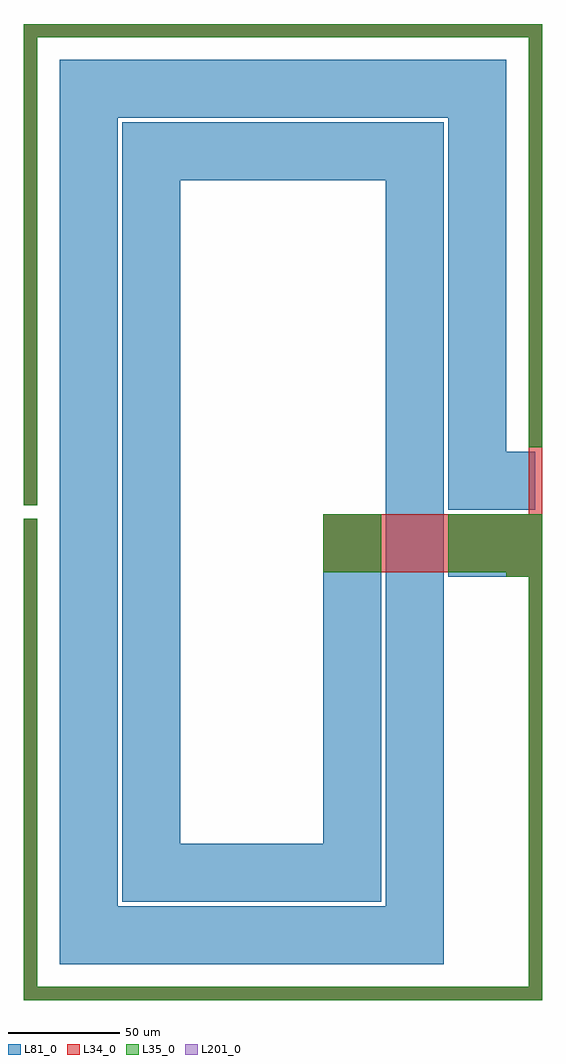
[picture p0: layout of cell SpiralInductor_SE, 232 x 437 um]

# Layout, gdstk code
import gdstk
lib = gdstk.Library(unit=1e-6, precision=1e-09)
def R(c, l, rs):  # rectangles x0, y0, x1, y1
    for r in rs: c.add(gdstk.rectangle(r[:2], r[2:], *l))
def P(c, l, *ps):  # polygons
    for p in ps: c.add(gdstk.Polygon(p, *l))
L34_0 = (34, 0)
L35_0 = (35, 0)
L81_0 = (81, 0)
L201_0 = (201, 0)

spiralinductor_se = lib.new_cell('SpiralInductor_SE')
R(spiralinductor_se, L34_0, [(-116,-218.5,-110,-3), (-116,-218.5,116,-212.5), (110,-218.5,116,-29), (100,-29,116,-1), (110,-29,116,29), (18,-27,100,-1), (-116,3,-110,218.5), (110,29,116,218.5), (-116,212.5,116,218.5)])
R(spiralinductor_se, L35_0, [(-116,-218.5,-110,-3), (-116,-218.5,116,-212.5), (110,-218.5,116,-29), (100,-29,116,-1), (18,-27,44,-1), (74,-27,100,-1), (-116,3,-110,218.5), (110,29,116,218.5), (-116,212.5,116,218.5)])
R(spiralinductor_se, L81_0, [(-116,-218.5,-110,-3), (-116,-218.5,116,-212.5), (110,-218.5,116,-29), (74,-29,116,-1), (-116,3,-110,218.5), (110,29,116,218.5), (-116,212.5,116,218.5)])
P(spiralinductor_se, L81_0, [(-100,-202.5),(-100,202.5),(100,202.5),(100,27),(113,27),(113,1),(74,1),(74,176.5),(-74,176.5),(-74,-176.5),(46,-176.5),(46,148.5),(-46,148.5),(-46,-148.5),(18,-148.5),(18,-1),(44,-1),(44,-174.5),(-72,-174.5),(-72,174.5),(72,174.5),(72,-202.5)])
P(spiralinductor_se, L201_0, [(113,1),(113,27),(113,27),(113,1)])

lib.write_gds('SpiralInductor_SE.gds')
